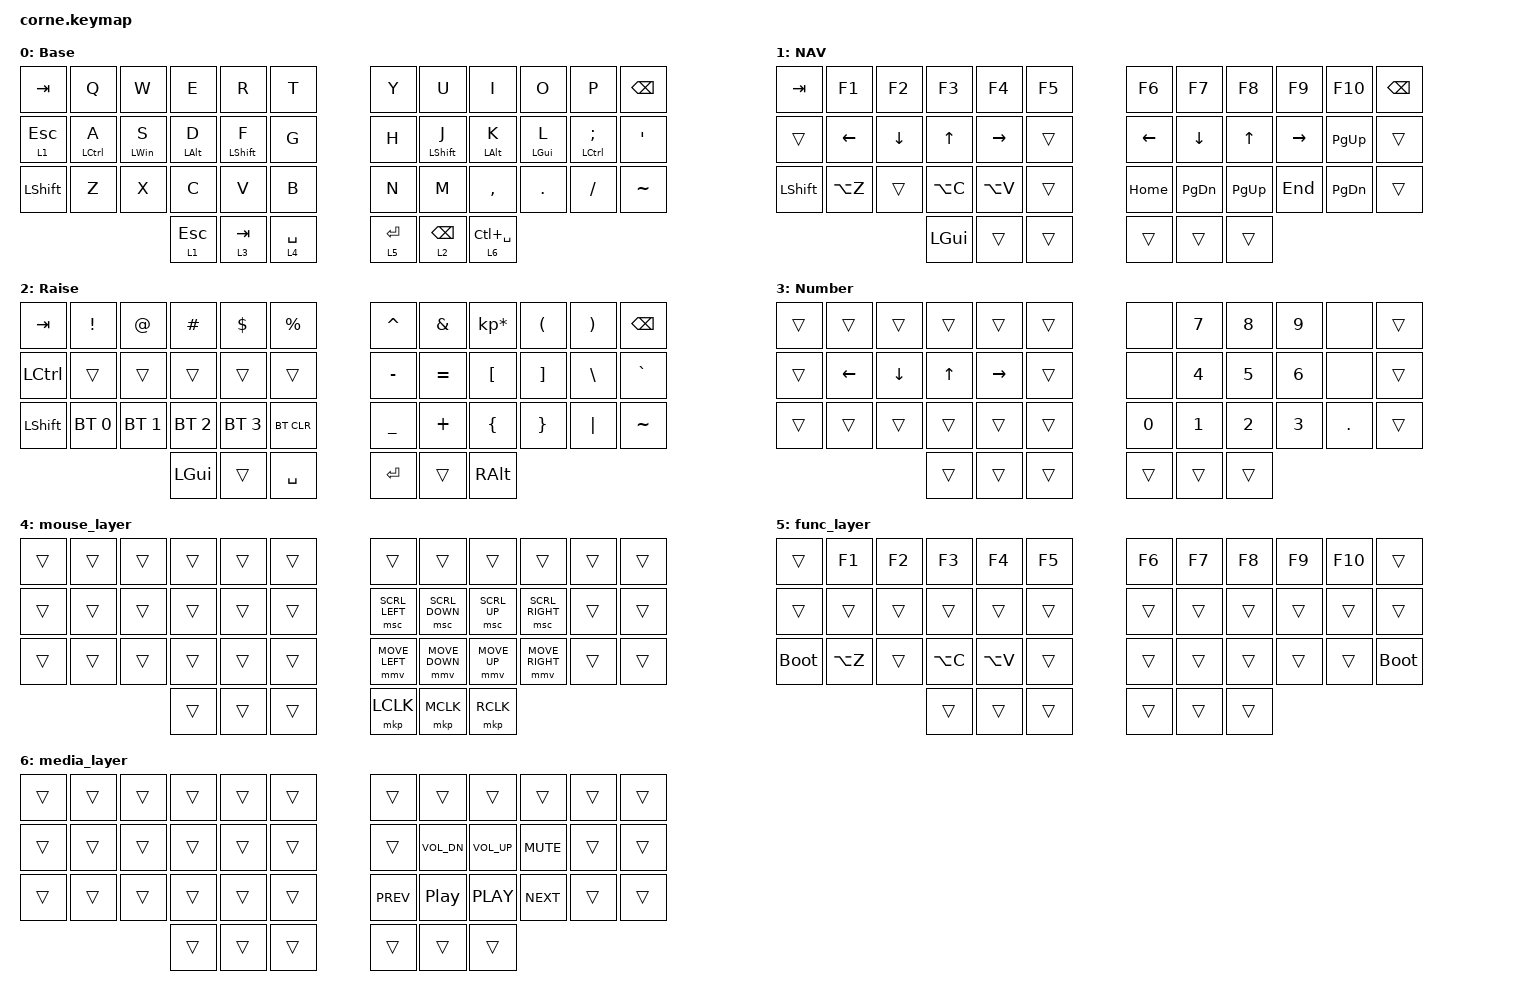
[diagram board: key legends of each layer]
/*
 * Copyright (c) 2020 The ZMK Contributors
 *
 * SPDX-License-Identifier: MIT
 */

#include <behaviors.dtsi>
#include <dt-bindings/zmk/bt.h>
#include <dt-bindings/zmk/keys.h>
#include <dt-bindings/zmk/mouse.h>


#define LEFT_KEYS \
    0 1 2 3 4 5 \
    12 13 14 15 16 17 \
    24 25 26 27 28 29 \
    36 37 38 

#define RIGHT_KEYS \
    6 7 8 9 10 11 \
    18 19 20 21 22 23 \
    30 31 32 33 34 35 \
    39 40 41
#define LEFT_THUMBS 36 37 38
#define RIGHT_THUMBS 39 40 41

/ {
    behaviors {
        hmr: hmr {
            compatible = "zmk,behavior-hold-tap";
            label = "HMR";
            bindings = <&kp>, <&kp>;

            #binding-cells = <2>;
            tapping-term-ms = <200>;
            quick-tap-ms = <175>;
            require-prior-idle-ms = <125>;
            flavor = "balanced";
        };
        hmr_l: hmr_l {
            compatible = "zmk,behavior-hold-tap";
            label = "LEFT_HMR";
            bindings = <&kp>, <&kp>;

            #binding-cells = <2>;
            tapping-term-ms = <220>;
            quick-tap-ms = <175>;
            require-prior-idle-ms = <100>;
            flavor = "balanced";
            hold-trigger-key-positions = <RIGHT_KEYS LEFT_THUMBS>;
        };
        hmr_r: hmr_r {
            compatible = "zmk,behavior-hold-tap";
            label = "RIGHT_HMR";
            bindings = <&kp>, <&kp>;

            #binding-cells = <2>;
            tapping-term-ms = <220>;
            quick-tap-ms = <175>;
            require-prior-idle-ms = <100>;
            flavor = "balanced";
            hold-trigger-key-positions = <LEFT_KEYS RIGHT_THUMBS>;
        };
        hmr_mo: hmr_mo {
            compatible = "zmk,behavior-hold-tap";
            label = "HMR_MO";
            bindings = <&mo>, <&kp>;

            #binding-cells = <2>;
            tapping-term-ms = <175>;
            quick-tap-ms = <175>;
            require-prior-idle-ms = <75>;
            flavor = "hold-preferred";
        };
        hms: homerow_mods_shift {
            compatible = "zmk,behavior-hold-tap";
            #binding-cells = <2>;
            flavor = "balanced";          
            tapping-term-ms = <175>;      // shift는 더 짧게
            quick-tap-ms = <175>;
            require-prior-idle-ms = <100>; // 낮게 설정
            
            bindings = <&kp>, <&kp>;
        };
        /* F 키 전용 Shift: 반대쪽 손 + 왼손 엄지 전체(50~54)를 트리거로 인정 */
        hms_l: homerow_mods_shift_left {
            compatible = "zmk,behavior-hold-tap";
            label = "HMS_L";
            bindings = <&kp>, <&kp>;
            #binding-cells = <2>;
            tapping-term-ms = <180>;
            quick-tap-ms = <175>;
            require-prior-idle-ms = <50>;
            flavor = "balanced";
            hold-trigger-key-positions = <RIGHT_KEYS LEFT_THUMBS>;
        };

        /* J 키 전용 Shift: 반대쪽 손 + 오른손 엄지 전체(55~59)를 트리거로 인정 */
        hms_r: homerow_mods_shift_right {
            compatible = "zmk,behavior-hold-tap";
            label = "HMS_R";
            bindings = <&kp>, <&kp>;
            #binding-cells = <2>;
            tapping-term-ms = <180>;
            quick-tap-ms = <175>;
            require-prior-idle-ms = <50>;
            flavor = "balanced";
            hold-trigger-key-positions = <LEFT_KEYS RIGHT_THUMBS>;
        };
        /* 엄지 전용 Dual-Role 키 (Tap: 일반 글쇠, Hold: 레이어 전환) */
        lt_th: thumb_layer_tap {
            compatible = "zmk,behavior-hold-tap";
            label = "THUMB_LT";
            bindings = <&mo>, <&kp>;
            #binding-cells = <2>;
            tapping-term-ms = <180>;
            quick-tap-ms = <190>;
            flavor = "tap-preferred";
        };
    };

    keymap {
        compatible = "zmk,keymap";

        default_layer {
            // -----------------------------------------------------------------------------------------
            // |  TAB |  Q  |  W  |  E  |  R  |  T  |   |  Y  |  U   |  I  |  O  |  P  | BKSP |
            // | CTRL |  A  |  S  |  D  |  F  |  G  |   |  H  |  J   |  K  |  L  |  ;  |  '   |
            // | SHFT |  Z  |  X  |  C  |  V  |  B  |   |  N  |  M   |  ,  |  .  |  /  | ESC  |
            //                    | GUI | LWR | SPC |   | ENT | RSE  | ALT |

            display-name = "Base";
            bindings = <
&kp TAB         &kp Q          &kp W             &kp E             &kp R               &kp T            &kp Y          &kp U               &kp I             &kp O             &kp P                    &kp BSPC
&hmr_mo 1 ESC   &hmr_l LCTRL A &hmr_l LEFT_WIN S &hmr_l LEFT_ALT D &hms_l LEFT_SHIFT F &kp G            &kp H          &hms_r LEFT_SHIFT J &hmr_r LEFT_ALT K &hmr_r LEFT_GUI L &hmr_r LEFT_CONTROL SEMI &kp SQT
&kp LEFT_SHIFT  &kp Z          &kp X             &kp C             &kp V               &kp B            &kp N          &kp M               &kp COMMA         &kp DOT           &kp FSLH                 &kp TILDE
                                                 &lt_th 1 ESC      &lt_th 3 TAB        &lt_th 4 SPACE   &lt_th 5 RET   &lt_th 2 BSPC       &lt_th 6 LC(SPACE)
            >;
        };

        nav_layer {
            // -----------------------------------------------------------------------------------------
            // |  TAB |  1  |  2  |  3  |  4  |  5  |   |  6  |  7  |  8  |  9  |  0  | BKSP |
            // | BTCLR| BT1 | BT2 | BT3 | BT4 | BT5 |   | LFT | DWN |  UP | RGT |     |      |
            // | SHFT |     |     |     |     |     |   |     |     |     |     |     |      |
            //                    | GUI |     | SPC |   | ENT |     | ALT |

            display-name = "NAV";
            bindings = <
&kp TAB    &kp F1          &kp F2          &kp F3        &kp F4     &kp F5       &kp F6    &kp F7         &kp F8    &kp F9     &kp F10        &kp BACKSPACE
&trans     &kp LEFT_ARROW  &kp DOWN_ARROW  &kp UP_ARROW  &kp RIGHT  &trans       &kp LEFT  &kp DOWN       &kp UP    &kp RIGHT  &kp PAGE_UP    &trans
&kp LSHFT  &kp LA(Z)       &trans          &kp LA(C)     &kp LA(V)  &trans       &kp HOME  &kp PAGE_DOWN  &kp PAGE_UP &kp END  &kp PAGE_DOWN  &trans
                                           &kp LGUI      &trans     &trans       &trans    &trans         &trans
            >;
        };

        symbol_layer {
            // -----------------------------------------------------------------------------------------
            // |  TAB |  !  |  @  |  #  |  $  |  %  |   |  ^  |  &  |  *  |  (  |  )  | BKSP |
            // | CTRL |     |     |     |     |     |   |  -  |  =  |  [  |  ]  |  \  |  `   |
            // | SHFT |     |     |     |     |     |   |  _  |  +  |  {  |  }  | "|" |  ~   |
            //                    | GUI |     | SPC |   | ENT |     | ALT |

            display-name = "Raise";
            bindings = <
&kp TAB    &kp EXCL      &kp AT        &kp HASH      &kp DLLR      &kp PRCNT     &kp CARET  &kp AMPS   &kp KP_MULTIPLY  &kp LPAR  &kp RPAR  &kp BSPC
&kp LCTRL  &trans        &trans        &trans        &trans        &trans        &kp MINUS  &kp EQUAL  &kp LBKT         &kp RBKT  &kp BSLH  &kp GRAVE
&kp LSHFT  &bt BT_SEL 0  &bt BT_SEL 1  &bt BT_SEL 2  &bt BT_SEL 3  &bt BT_CLR    &kp UNDER  &kp PLUS   &kp LBRC         &kp RBRC  &kp PIPE  &kp TILDE
                                       &kp LGUI      &trans        &kp SPACE     &kp RET    &trans     &kp RALT
            >;
        };
        number_layer {

            display-name = "Number";
            // ┌────────┬────────┬────────┬────────┬────────┬────────┐                        ┌────────┬────────┬────────┬────────┬────────┬────────┐
            // │ trans  │ trans  │ trans  │ trans  │ trans  │ trans  │                        │ trans  │   7    │   8    │   9    │ trans  │ trans  │
            // │ trans  │  LEFT  │  DOWN  │   UP   │ RIGHT  │ trans  │                        │ trans  │   4    │   5    │   6    │ trans  │ trans  │
            // │ trans  │ trans  │ trans  │ trans  │ trans  │ trans  │ trans  │      │ trans  │   0    │   1    │   2    │   3    │  DOT   │ trans  │
            //          │ trans  │ trans  │ trans  │ trans  │ trans  │ trans  │      │ trans  │ trans  │ trans  │ trans  │ trans  │
            bindings = <
&trans  &trans    &trans    &trans       &trans     &trans         &none        &kp NUMBER_7 &kp NUMBER_8 &kp NUMBER_9  &none    &trans
&trans  &kp LEFT  &kp DOWN  &kp UP_ARROW &kp RIGHT  &trans         &none        &kp NUMBER_4 &kp NUMBER_5 &kp NUMBER_6  &none    &trans
&trans  &trans    &trans    &trans       &trans     &trans         &kp NUMBER_0  &kp N1       &kp N2       &kp N3       &kp DOT  &trans
                            &trans       &trans     &trans         &trans        &trans       &trans 
            >;
        };
        mouse_layer {
            bindings = <
&trans  &trans    &trans    &trans        &trans     &trans       &trans          &trans          &trans        &trans           &trans   &trans
&trans  &trans    &trans    &trans        &trans     &trans       &msc SCRL_LEFT  &msc SCRL_DOWN  &msc SCRL_UP  &msc SCRL_RIGHT  &trans   &trans
&trans  &trans    &trans    &trans        &trans     &trans       &mmv MOVE_LEFT  &mmv MOVE_DOWN  &mmv MOVE_UP  &mmv MOVE_RIGHT  &trans   &trans
                            &trans        &trans     &trans       &mkp LCLK       &mkp MCLK       &mkp RCLK
            >;
        };
        func_layer {
            bindings = <
&trans      &kp F1    &kp F2    &kp F3        &kp F4     &kp F5       &kp F6        &kp F7        &kp F8        &kp F9        &kp F10  &trans
&trans      &trans    &trans    &trans        &trans     &trans       &trans        &trans        &trans        &trans        &trans   &trans
&bootloader &kp LA(Z) &trans    &kp LA(C)     &kp LA(V)  &trans       &trans        &trans        &trans        &trans        &trans   &bootloader
                            &trans        &trans     &trans       &trans        &trans        &trans
            >;
        };
        media_layer {
            bindings = <
&trans  &trans    &trans    &trans        &trans     &trans       &trans        &trans        &trans        &trans        &trans   &trans
&trans  &trans    &trans    &trans        &trans     &trans       &trans        &kp C_VOL_DN  &kp C_VOL_UP  &kp C_MUTE    &trans   &trans
&trans  &trans    &trans    &trans        &trans     &trans       &kp C_PREV    &kp C_PP      &kp C_PLAY    &kp C_NEXT       &trans   &trans
                            &trans        &trans     &trans       &trans        &trans        &trans
            >;
        };
    };
};
